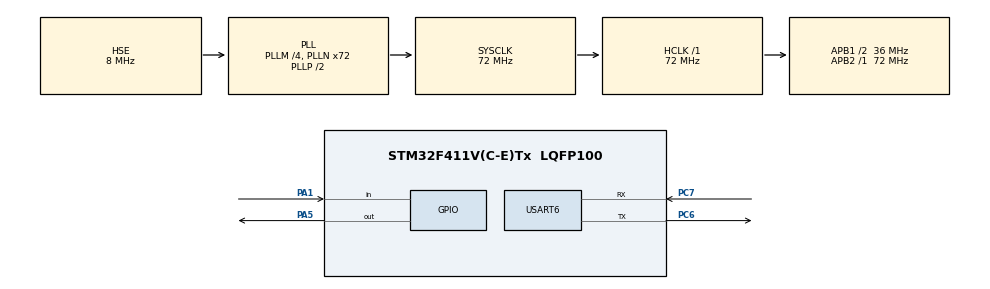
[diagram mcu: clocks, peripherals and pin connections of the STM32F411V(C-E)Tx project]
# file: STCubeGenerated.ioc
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Dma.Request0=USART6_RX
Dma.USART6_RX.0.Direction=DMA_PERIPH_TO_MEMORY
Dma.USART6_RX.0.FIFOMode=DMA_FIFOMODE_DISABLE
Dma.USART6_RX.0.Instance=DMA2_Stream1
Dma.USART6_RX.0.MemDataAlignment=DMA_MDATAALIGN_BYTE
Dma.USART6_RX.0.MemInc=DMA_MINC_ENABLE
Dma.USART6_RX.0.Mode=DMA_NORMAL
Dma.USART6_RX.0.PeriphDataAlignment=DMA_PDATAALIGN_BYTE
Dma.USART6_RX.0.PeriphInc=DMA_PINC_DISABLE
Dma.USART6_RX.0.Priority=DMA_PRIORITY_LOW
Mcu.Family=STM32F4
Mcu.Name=STM32F411V(C-E)Tx
Mcu.Package=LQFP100
NVIC.DMA2_Stream1_IRQn=true\:0\:0\:false\:false\:true\:false\:true
NVIC.PriorityGroup=NVIC_PRIORITYGROUP_4
NVIC.USART6_IRQn=true\:0\:0\:false\:false\:true\:true\:true
PA1.GPIO_PuPd=GPIO_PULLUP
PA1.Signal=GPIO_Input
PA5.Signal=GPIO_Output
PC6.Mode=Asynchronous
PC6.Signal=USART6_TX
PC7.Mode=Asynchronous
PC7.Signal=USART6_RX
PH0\ -\ OSC_IN.Mode=HSE-External-Oscillator
PH0\ -\ OSC_IN.Signal=RCC_OSC_IN
PH1\ -\ OSC_OUT.Mode=HSE-External-Oscillator
PH1\ -\ OSC_OUT.Signal=RCC_OSC_OUT
ProjectManager.HeapSize=0x200
ProjectManager.StackSize=0x400
ProjectManager.TargetToolchain=MDK-ARM V5
RCC.48MHZClocksFreq_Value=36000000
RCC.AHBFreq_Value=72000000
RCC.APB1CLKDivider=RCC_HCLK_DIV2
RCC.APB1Freq_Value=36000000
RCC.APB1TimFreq_Value=72000000
RCC.APB2Freq_Value=72000000
RCC.APB2TimFreq_Value=72000000
RCC.CortexFreq_Value=72000000
RCC.HCLKFreq_Value=72000000
RCC.HSE_VALUE=8000000
RCC.HSI_VALUE=16000000
RCC.LSE_VALUE=32768
RCC.PLLM=4
RCC.PLLN=72
RCC.PLLSourceVirtual=RCC_PLLSOURCE_HSE
RCC.SYSCLKFreq_VALUE=72000000
RCC.SYSCLKSource=RCC_SYSCLKSOURCE_PLLCLK
RCC.VCOOutputFreq_Value=144000000
USART6.VirtualMode=VM_ASYNC
board=custom

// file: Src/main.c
/* USER CODE BEGIN Header */
/**
  ******************************************************************************
  * @file           : main.c
  * @brief          : Main program body
  ******************************************************************************
  * @attention
  *
  * <h2><center>&copy; Copyright (c) 2022 STMicroelectronics.
  * All rights reserved.</center></h2>
  *
  * This software component is licensed by ST under BSD 3-Clause license,
  * the "License"; You may not use this file except in compliance with the
  * License. You may obtain a copy of the License at:
  *                        opensource.org/licenses/BSD-3-Clause
  *
  ******************************************************************************
  */
/* USER CODE END Header */

#include <stdio.h>
#include "main.h"
#include "dma.h"
#include "usart.h"
#include "gpio.h"

#define UART_WITH_DMA 0

void SystemClock_Config(void);

/* USER CODE BEGIN 0 */

/* PRINTF REDIRECT to UART BEGIN */
// @see    http://www.keil.com/forum/60531/
// @see    https://stackoverflow.com/questions/45535126/stm32-printf-redirect

FILE __stdout;

int fputc(int ch, FILE *f){
	HAL_UART_Transmit(&huart6, (uint8_t *)&ch, 1, 0xFFFF);
  return ch;
}

int ferror(FILE *f){
  /* Your implementation of ferror(). */
  return 0;
}

#if UART_WITH_DMA
char UART6_rxBuffer[100];
void HAL_UART_RxCpltCallback(UART_HandleTypeDef *huart)
{
    HAL_UART_Transmit(&huart6, UART6_rxBuffer, 12, 100);
    HAL_UART_Receive_DMA(&huart6, UART6_rxBuffer, 12);
}
#endif

/* USER CODE END 0 */

int main(void)
{

  /* MCU Configuration--------------------------------------------------------*/

  /* Reset of all peripherals, Initializes the Flash interface and the Systick. */
  HAL_Init();

  /* Configure the system clock */
  SystemClock_Config();

  /* Initialize all configured peripherals */
  MX_GPIO_Init();
  MX_DMA_Init();
  MX_USART6_UART_Init();

  /* Infinite loop */
  /* USER CODE BEGIN WHILE */

#if (UART_WITH_DMA == 1)
	HAL_UART_Receive_DMA (&huart6, UART6_rxBuffer, 12);
#endif

	char buf_r[100];
	char buf_w[100];

	int cnt=0;
  while (1)
  {
#if (UART_WITH_DMA != 1)

		memset(buf_r, 0, sizeof(buf_r));
		memset(buf_w, 0, sizeof(buf_w));

		HAL_UART_Receive(&huart6, buf_r, 100, 1000);
		int _len = strlen(buf_r);
		memcpy(buf_w, buf_r, _len);
		HAL_UART_Transmit(&huart6, buf_w, _len, 1000);
#endif

		printf("cnt = %d\n", cnt++);
    /* USER CODE END WHILE */

    /* USER CODE BEGIN 3 */
		HAL_Delay(1000);
  }
  /* USER CODE END 3 */
}

void SystemClock_Config(void)
{
  RCC_OscInitTypeDef RCC_OscInitStruct = {0};
  RCC_ClkInitTypeDef RCC_ClkInitStruct = {0};

  /** Configure the main internal regulator output voltage
  */
  __HAL_RCC_PWR_CLK_ENABLE();
  __HAL_PWR_VOLTAGESCALING_CONFIG(PWR_REGULATOR_VOLTAGE_SCALE1);
  /** Initializes the CPU, AHB and APB busses clocks
  */
  RCC_OscInitStruct.OscillatorType = RCC_OSCILLATORTYPE_HSE;
  RCC_OscInitStruct.HSEState = RCC_HSE_ON;
  RCC_OscInitStruct.PLL.PLLState = RCC_PLL_ON;
  RCC_OscInitStruct.PLL.PLLSource = RCC_PLLSOURCE_HSE;
  RCC_OscInitStruct.PLL.PLLM = 4;
  RCC_OscInitStruct.PLL.PLLN = 72;
  RCC_OscInitStruct.PLL.PLLP = RCC_PLLP_DIV2;
  RCC_OscInitStruct.PLL.PLLQ = 4;
  if (HAL_RCC_OscConfig(&RCC_OscInitStruct) != HAL_OK)
  {
    Error_Handler();
  }
  /** Initializes the CPU, AHB and APB busses clocks
  */
  RCC_ClkInitStruct.ClockType = RCC_CLOCKTYPE_HCLK|RCC_CLOCKTYPE_SYSCLK
                              |RCC_CLOCKTYPE_PCLK1|RCC_CLOCKTYPE_PCLK2;
  RCC_ClkInitStruct.SYSCLKSource = RCC_SYSCLKSOURCE_PLLCLK;
  RCC_ClkInitStruct.AHBCLKDivider = RCC_SYSCLK_DIV1;
  RCC_ClkInitStruct.APB1CLKDivider = RCC_HCLK_DIV2;
  RCC_ClkInitStruct.APB2CLKDivider = RCC_HCLK_DIV1;

  if (HAL_RCC_ClockConfig(&RCC_ClkInitStruct, FLASH_LATENCY_2) != HAL_OK)
  {
    Error_Handler();
  }
}

void Error_Handler(void)
{
}

/************************ (C) COPYRIGHT STMicroelectronics *****END OF FILE****/
